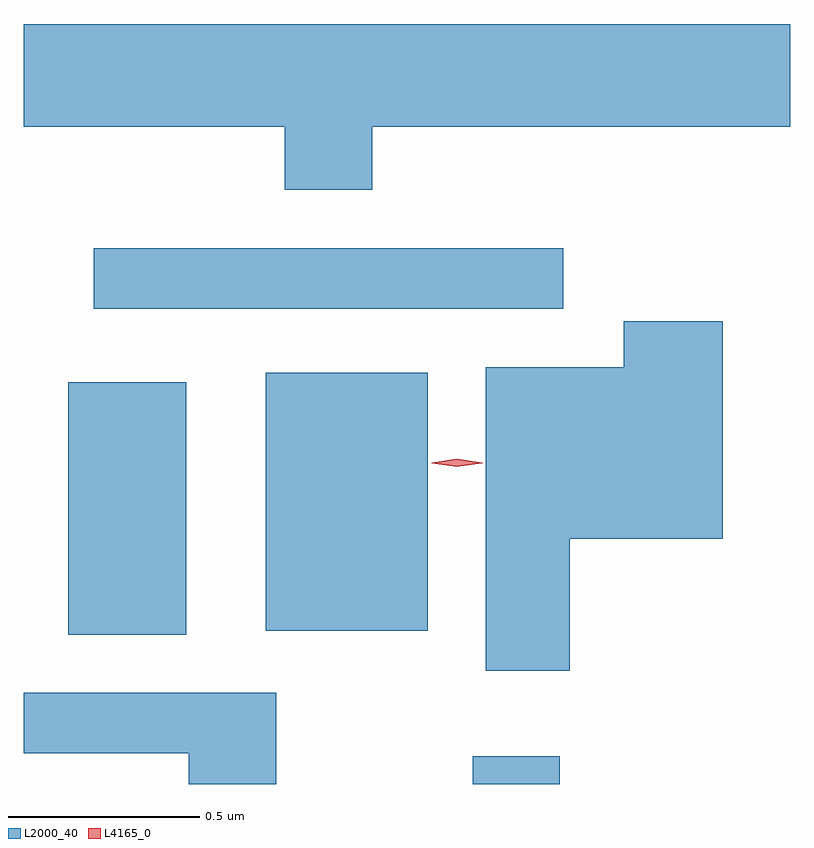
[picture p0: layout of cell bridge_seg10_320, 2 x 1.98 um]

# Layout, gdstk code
import gdstk
lib = gdstk.Library(unit=1e-6, precision=1e-09)
def R(c, l, rs):  # rectangles x0, y0, x1, y1
    for r in rs: c.add(gdstk.rectangle(r[:2], r[2:], *l))
def P(c, l, *ps):  # polygons
    for p in ps: c.add(gdstk.Polygon(p, *l))
L2000_40 = (2000, 40)
L4165_0 = (4165, 0)

bridge_seg10_320 = lib.new_cell('bridge_seg10_320')
R(bridge_seg10_320, L2000_40, [(1449.561,2163.261,1449.789,2163.334), (1448.506,2163.651,1448.814,2164.309), (1449.021,2163.661,1449.444,2164.334), (1448.573,2164.501,1449.798,2164.659)])
P(bridge_seg10_320, L2000_40, [(1449.299,2164.976),(1450.39,2164.976),(1450.39,2165.244),(1448.39,2165.244),(1448.39,2164.976),(1449.071,2164.976),(1449.071,2164.811),(1449.299,2164.811)],
  [(1449.814,2163.901),(1450.214,2163.901),(1450.214,2164.469),(1449.956,2164.469),(1449.956,2164.349),(1449.596,2164.349),(1449.596,2163.556),(1449.814,2163.556)],
  [(1449.049,2163.499),(1448.39,2163.499),(1448.39,2163.341),(1448.821,2163.341),(1448.821,2163.261),(1449.049,2163.261)])
P(bridge_seg10_320, L4165_0, [(1449.52,2164.089),(1449.454,2164.098),(1449.454,2164.099),(1449.454,2164.099),(1449.52,2164.109),(1449.586,2164.099),(1449.587,2164.099),(1449.586,2164.098)])

lib.write_gds('bridge_seg10_320.gds')
